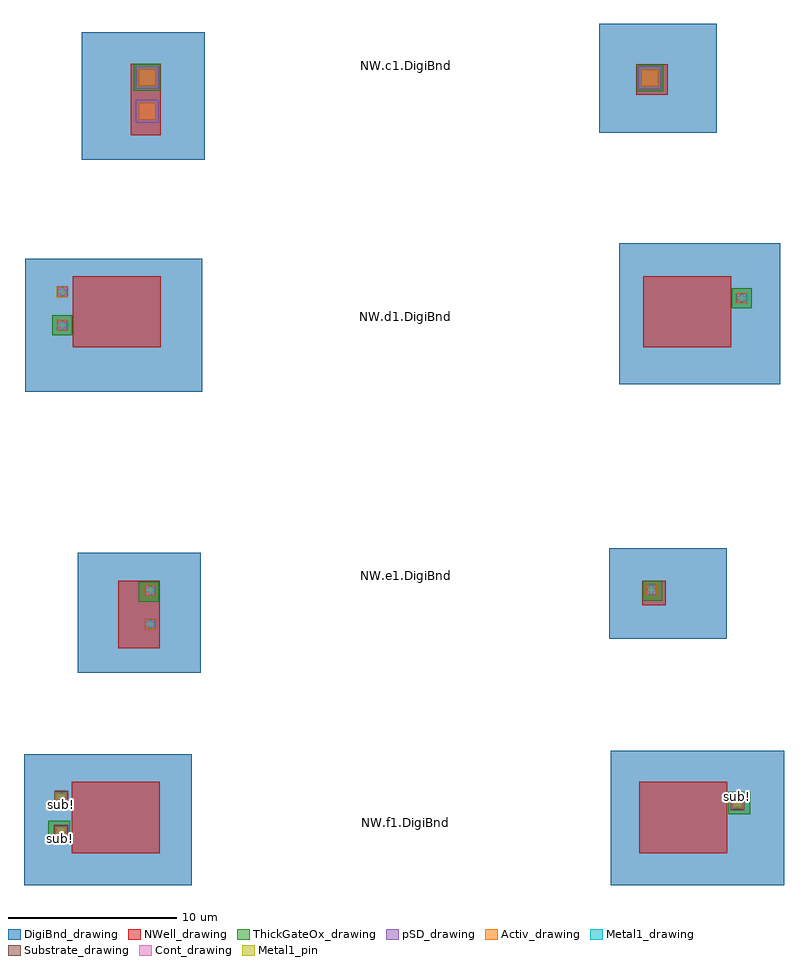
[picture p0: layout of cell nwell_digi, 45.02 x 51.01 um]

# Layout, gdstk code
import gdstk
lib = gdstk.Library(unit=1e-6, precision=1e-09)
def R(c, l, rs):  # rectangles x0, y0, x1, y1
    for r in rs: c.add(gdstk.rectangle(r[:2], r[2:], *l))
Activ_drawing = (1, 0)
Cont_drawing = (6, 0)
Metal1_drawing = (8, 0)
Metal1_pin = (8, 2)
pSD_drawing = (14, 0)
DigiBnd_drawing = (16, 0)
NWell_drawing = (31, 0)
Substrate_drawing = (40, 0)
ThickGateOx_drawing = (44, 0)

nwell_digi = lib.new_cell('nwell_digi')
R(nwell_digi, Activ_drawing, [(-20.815,-48.32,-20.035,-47.54), (19.265,-46.62,20.045,-45.84), (-20.805,-46.32,-20.025,-45.54), (-15.455,-35.96,-14.815,-35.32), (-15.465,-33.96,-14.825,-33.32), (14.225,-33.925,14.865,-33.285), (-20.675,-18.26,-20.035,-17.62), (19.575,-16.64,20.215,-16), (-20.665,-16.26,-20.025,-15.62), (-15.815,-5.755,-14.815,-4.755), (13.963,-3.783,14.963,-2.783), (-15.825,-3.755,-14.825,-2.755)])
R(nwell_digi, Cont_drawing, [(-20.675,-48.18,-20.515,-48.02), (-20.335,-48.18,-20.175,-48.02), (-20.675,-47.84,-20.515,-47.68), (-20.335,-47.84,-20.175,-47.68), (19.405,-46.48,19.565,-46.32), (19.745,-46.48,19.905,-46.32), (-20.665,-46.18,-20.505,-46.02), (-20.325,-46.18,-20.165,-46.02), (19.405,-46.14,19.565,-45.98), (19.745,-46.14,19.905,-45.98), (-20.665,-45.84,-20.505,-45.68), (-20.325,-45.84,-20.165,-45.68), (-15.385,-35.89,-15.225,-35.73), (-15.045,-35.89,-14.885,-35.73), (-15.385,-35.55,-15.225,-35.39), (-15.045,-35.55,-14.885,-35.39), (-15.395,-33.89,-15.235,-33.73), (-15.055,-33.89,-14.895,-33.73), (14.295,-33.855,14.455,-33.695), (14.635,-33.855,14.795,-33.695), (-15.395,-33.55,-15.235,-33.39), (-15.055,-33.55,-14.895,-33.39), (14.295,-33.515,14.455,-33.355), (14.635,-33.515,14.795,-33.355), (-20.605,-18.19,-20.445,-18.03), (-20.265,-18.19,-20.105,-18.03), (-20.605,-17.85,-20.445,-17.69), (-20.265,-17.85,-20.105,-17.69), (19.645,-16.57,19.805,-16.41), (19.985,-16.57,20.145,-16.41), (19.645,-16.23,19.805,-16.07), (19.985,-16.23,20.145,-16.07), (-20.595,-16.19,-20.435,-16.03), (-20.255,-16.19,-20.095,-16.03), (-20.595,-15.85,-20.435,-15.69), (-20.255,-15.85,-20.095,-15.69)])
R(nwell_digi, Metal1_drawing, [(-20.675,-48.235,-20.175,-47.62), (-20.675,-48.23,-20.175,-47.63), (19.405,-46.54,19.905,-45.925), (19.405,-46.53,19.905,-45.93), (-20.665,-46.235,-20.165,-45.62), (-20.665,-46.23,-20.165,-45.63), (-15.435,-35.89,-14.835,-35.39), (14.295,-33.905,14.795,-33.305), (-15.445,-33.89,-14.845,-33.39), (-20.655,-18.19,-20.055,-17.69), (19.595,-16.57,20.195,-16.07), (-20.645,-16.19,-20.045,-15.69)])
R(nwell_digi, Metal1_pin, [(-20.675,-48.18,-20.175,-47.68), (19.405,-46.48,19.905,-45.98), (-20.665,-46.18,-20.165,-45.68)])
R(nwell_digi, pSD_drawing, [(-20.845,-48.35,-20.005,-47.51), (19.235,-46.65,20.075,-45.81), (-20.835,-46.35,-19.995,-45.51), (-15.995,-5.935,-14.635,-4.575), (13.783,-3.963,15.143,-2.603), (-16.005,-3.935,-14.645,-2.575)])
R(nwell_digi, DigiBnd_drawing, [(-22.615,-51.09,-12.67,-43.345), (12.145,-51.09,22.405,-43.135), (-19.43,-38.525,-12.145,-31.41), (12.06,-36.515,19.01,-31.155), (-22.53,-21.86,-12.06,-13.985), (12.645,-21.44,22.195,-13.065), (-19.18,-8.125,-11.895,-0.585), (11.475,-6.535,18.425,-0.085)])
R(nwell_digi, NWell_drawing, [(-19.795,-49.195,-14.585,-44.965), (13.825,-49.195,19.035,-44.965), (-17.035,-37.075,-14.585,-33.08), (13.995,-34.52,15.39,-33.055), (-19.725,-19.245,-14.515,-15.015), (14.065,-19.245,19.275,-15.015), (-16.3,-6.67,-14.515,-2.445), (13.663,-4.268,15.523,-2.483)])
R(nwell_digi, Substrate_drawing, [(-20.815,-48.32,-20.035,-47.54), (19.265,-46.62,20.045,-45.84), (-20.805,-46.32,-20.025,-45.54)])
R(nwell_digi, ThickGateOx_drawing, [(-21.185,-48.595,-19.865,-47.27), (19.095,-46.89,20.415,-45.565), (-15.805,-34.3,-14.625,-33.12), (14.025,-34.265,15.205,-33.085), (-20.945,-18.53,-19.765,-17.35), (19.305,-16.91,20.485,-15.73), (13.675,-4.058,15.243,-2.493), (-16.1,-4.035,-14.535,-2.45)])
nwell_digi.add(gdstk.Label('NW.f1.DigiBnd', (0,-47.37), layer=63, texttype=0))
nwell_digi.add(gdstk.Label('NW.e1.DigiBnd', (0,-32.75), layer=63, texttype=0))
nwell_digi.add(gdstk.Label('NW.d1.DigiBnd', (0,-17.41), layer=63, texttype=0))
nwell_digi.add(gdstk.Label('NW.c1.DigiBnd', (0,-2.54), layer=63, texttype=0))
nwell_digi.add(gdstk.Label('8.1.1 NWell-DigiBnd', (0,21), layer=63, texttype=0))
nwell_digi.add(gdstk.Label('FAIL', (12,10), layer=63, texttype=0))
nwell_digi.add(gdstk.Label('PASS', (-12,10), layer=63, texttype=0))
nwell_digi.add(gdstk.Label('sub!', (19.655,-45.85), layer=63, texttype=0))
nwell_digi.add(gdstk.Label('sub!', (-20.425,-48.31), layer=63, texttype=0))
nwell_digi.add(gdstk.Label('sub!', (-20.415,-46.31), layer=63, texttype=0))

lib.write_gds('nwell_digi.gds')
